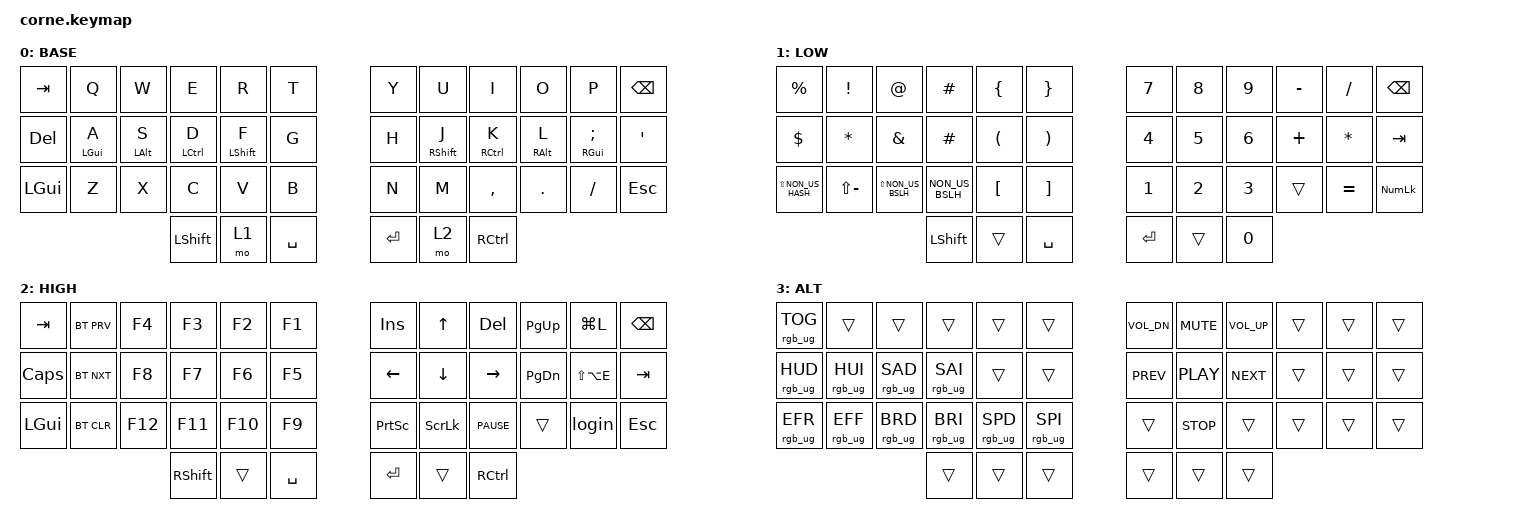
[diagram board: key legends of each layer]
/*
 * Copyright (c) 2020 The ZMK Contributors
 *
 * SPDX-License-Identifier: MIT
 */

#include <dt-bindings/zmk/mouse.h>
#include <behaviors.dtsi>
#include <dt-bindings/zmk/bt.h>
#include <dt-bindings/zmk/keys.h>
#include <dt-bindings/zmk/rgb.h>

&mt { flavor = "tap-preferred"; };

/ {
    macros {
        user: user {
            compatible = "zmk,behavior-macro";
            #binding-cells = <0>;
            bindings = <&kp M &kp A &kp T &kp T &kp H &kp E &kp W &kp DOT &kp W &kp O &kp R &kp T &kp H>;
            label = "USER";
        };

        pw: pw {
            compatible = "zmk,behavior-macro";
            #binding-cells = <0>;
            bindings = <&kp LS(A) &kp LS(Z) &kp A &kp Z &kp N0 &kp N9 &kp EXCL &kp EXCL>;
            label = "PW";
        };

        login: login {
            compatible = "zmk,behavior-macro";
            #binding-cells = <0>;
            bindings = <&kp M &kp A &kp T &kp T &kp H &kp E &kp W &kp DOT &kp W &kp O &kp R &kp T &kp H &kp TAB &kp LS(A) &kp LS(Z) &kp A &kp Z &kp N0 &kp N9 &kp EXCL &kp EXCL &kp ENTER>;
            label = "LOGIN";
        };
    };

    keymap {
        compatible = "zmk,keymap";

        default_layer {
            display-name = "BASE";

            // -----------------------------------------------------------------------------------------
            // |  TAB |  Q  |  W  |  E  |  R  |  T  |   |  Y  |  U   |  I  |  O  |  P  | BKSP |
            // | CTRL |  A  |  S  |  D  |  F  |  G  |   |  H  |  J   |  K  |  L  |  ;  |  '   |
            // | SHFT |  Z  |  X  |  C  |  V  |  B  |   |  N  |  M   |  ,  |  .  |  /  | ESC  |
            //                    | GUI | LWR | SPC |   | ENT | RSE  | ALT |

            bindings = <
&kp TAB       &kp Q           &kp W           &kp E           &kp R             &kp T        &kp Y    &kp U              &kp I        &kp O            &kp P               &kp BSPC
&kp DELETE    &mt LEFT_GUI A  &mt LEFT_ALT S  &mt LCTRL D     &mt LEFT_SHIFT F  &kp G        &kp H    &mt RIGHT_SHIFT J  &mt RCTRL K  &mt RIGHT_ALT L  &mt RIGHT_GUI SEMI  &kp SQT
&kp LEFT_GUI  &kp Z           &kp X           &kp C           &kp V             &kp B        &kp N    &kp M              &kp COMMA    &kp DOT          &kp FSLH            &kp ESC
                                              &kp LEFT_SHIFT  &mo 1             &kp SPACE    &kp RET  &mo 2              &kp RCTRL
            >;
        };

        lower_layer {
            display-name = "LOW";

            // -----------------------------------------------------------------------------------------
            // |  TAB |  1  |  2  |  3  |  4  |  5  |   |  6  |  7  |  8  |  9  |  0  | BKSP |
            // | BTCLR| BT1 | BT2 | BT3 | BT4 | BT5 |   | LFT | DWN |  UP | RGT |     |      |
            // | SHFT |     |     |     |     |     |   |     |     |     |     |     |      |
            //                    | GUI |     | SPC |   | ENT |     | ALT |

            bindings = <
&kp PERCENT          &kp EXCL       &kp AT               &kp POUND        &kp LEFT_BRACE        &kp RIGHT_BRACE          &kp N7        &kp N8        &kp N9        &kp MINUS  &kp SLASH  &kp BSPC
&kp DOLLAR           &kp STAR       &kp AMPS             &kp HASH         &kp LEFT_PARENTHESIS  &kp RIGHT_PARENTHESIS    &kp NUMBER_4  &kp N5        &kp NUMBER_6  &kp PLUS   &kp STAR   &kp TAB
&kp LS(NON_US_HASH)  &kp LS(MINUS)  &kp LS(NON_US_BSLH)  &kp NON_US_BSLH  &kp LEFT_BRACKET      &kp RIGHT_BRACKET        &kp NUMBER_1  &kp NUMBER_2  &kp NUMBER_3  &trans     &kp EQUAL  &kp KP_NUMLOCK
                                                         &kp LEFT_SHIFT   &trans                &kp SPACE                &kp RET       &trans        &kp N0
            >;
        };

        raise_layer {
            display-name = "HIGH";

            // -----------------------------------------------------------------------------------------
            // |  TAB |  !  |  @  |  #  |  $  |  %  |   |  ^  |  &  |  *  |  (  |  )  | BKSP |
            // | CTRL |     |     |     |     |     |   |  -  |  =  |  [  |  ]  |  \  |  `   |
            // | SHFT |     |     |     |     |     |   |  _  |  +  |  {  |  }  | "|" |  ~   |
            //                    | GUI |     | SPC |   | ENT |     | ALT |

            bindings = <
&kp TAB       &bt BT_PRV  &kp F4   &kp F3           &kp F2   &kp F1       &kp INSERT       &kp UP_ARROW    &kp DELETE       &kp PAGE_UP    &kp LG(L)      &kp BSPC
&kp CAPSLOCK  &bt BT_NXT  &kp F8   &kp F7           &kp F6   &kp F5       &kp LEFT_ARROW   &kp DOWN        &kp RIGHT_ARROW  &kp PAGE_DOWN  &kp LS(LA(E))  &kp TAB
&kp LEFT_GUI  &bt BT_CLR  &kp F12  &kp F11          &kp F10  &kp F9       &kp PRINTSCREEN  &kp SCROLLLOCK  &kp C_PAUSE      &trans         &login         &kp ESCAPE
                                   &kp RIGHT_SHIFT  &trans   &kp SPACE    &kp RET          &trans          &kp RCTRL
            >;
        };

        both_layer {
            bindings = <
&rgb_ug RGB_TOG  &trans           &trans           &trans           &trans           &trans             &kp C_VOL_DN  &kp C_MUTE  &kp C_VOL_UP  &trans  &trans  &trans
&rgb_ug RGB_HUD  &rgb_ug RGB_HUI  &rgb_ug RGB_SAD  &rgb_ug RGB_SAI  &trans           &trans             &kp C_PREV    &kp C_PLAY  &kp C_NEXT    &trans  &trans  &trans
&rgb_ug RGB_EFR  &rgb_ug RGB_EFF  &rgb_ug RGB_BRD  &rgb_ug RGB_BRI  &rgb_ug RGB_SPD  &rgb_ug RGB_SPI    &trans        &kp C_STOP  &trans        &trans  &trans  &trans
                                                   &trans           &trans           &trans             &trans        &trans      &trans
            >;

            label = "ALT";
        };
    };

    conditional_layers {
        compatible = "zmk,conditional-layers";

        tri_layer {
            if-layers = <1 2>;
            then-layer = <3>;
        };
    };
};
